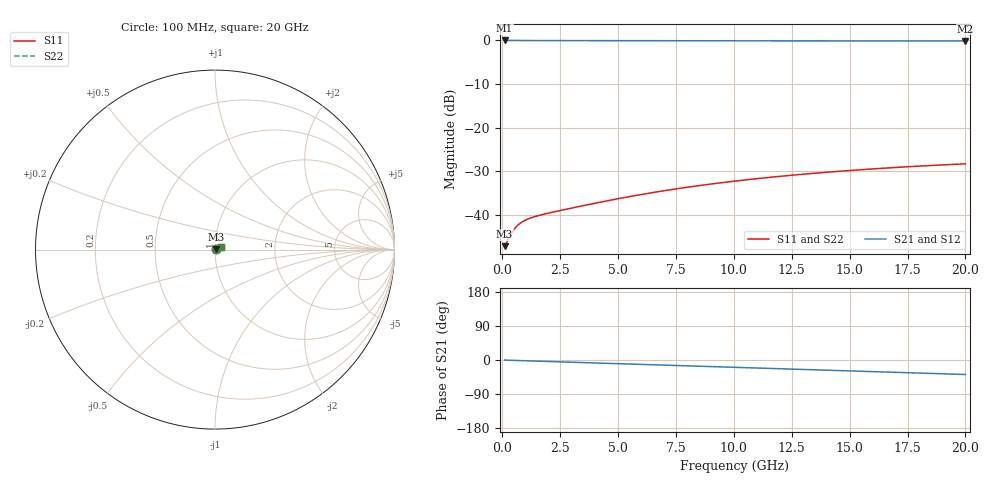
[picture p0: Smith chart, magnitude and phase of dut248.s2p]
! Touchstone file exported from HFSS 2026.1.0
!  File:  C:/ffzhzh/LocalFiles/Ansys_Project_Files/temp_train_TMRDL_248_1782984792_41620.aedt
!  Generated:  05:34:18 PM Jul  2, 2026
!  Design:  TMRDL
!  Project:  temp_train_TMRDL_248_1782984792_41620
! Variables:
!  h_bsmrdl = 2um
!  h_ox = 20um
!  h_rdl = 5um
!  h_sub = 80um
!  h_tmrdl = 2.08um
!  h_tsv = 80um
!  h_via = 3um
!  l_bsmrdl = 300um
!  l_sub = 1067.2um
!  l_tmrdl = 667.2um
!  m_sub = 200um
!  pitch = 33.91um
!  r_tsv = 6um
!  s_tmrdl = 10um
!  w_bsmrdl = 18um
!  w_sub = 500um
!  w_tmrdl = 29.58um
!  x_tsv_center1 = 681.99um
!  x_tsv_center2 = 999.99um
!  x_tsv_center3 = 1696.77um
!  x_tsv_center4 = 2014.77um
!  x_tsv_center5 = 2711.55um
!  x_tsv_center6 = 3029.55um
# GHz S MA R 50.000000
! Terminal data exported
! Port[1] = TM_RDL1_1_T1
! Port[2] = TM_RDL1_1_T2
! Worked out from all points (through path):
!   200 points, 100 MHz to 20 GHz, reference 50 ohm
!   highest |S21| = -0.04 dB at 100 MHz (marker M1); lowest = -0.2 dB at 20 GHz (marker M2)
!   group delay of S21, straight-line fit = 5.3 ps
!   lowest |S11| = -47.2 dB at 100 MHz (marker M3), VSWR 1.01, Z = 50.4 + j0.0903 ohm
!   |S11| at or under -10 dB: start of sweep to end of sweep
!   |S22| runs from -47.2 to -28.3 dB; largest |S21 - S12| = 3.5e-15
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0.1  0.004366 11.8  0.9957 -0.2  0.9957 -0.2  0.004366 11.8
! Gamma 0 0 0 0
! Port Impedance 50 0 50 0
0.2  0.004868 20.5  0.9954 -0.5  0.9954 -0.5  0.004868 20.5
0.3  0.00551 25.6  0.995 -0.7  0.995 -0.7  0.005509 25.7
0.4  0.00616 28.2  0.9946 -0.9  0.9946 -0.9  0.00616 28.2
0.5  0.006755 29.3  0.9942 -1.1  0.9942 -1.1  0.006757 29.3
0.6  0.007273 29.6  0.9937 -1.3  0.9937 -1.3  0.007278 29.7
0.7  0.007714 29.6  0.9934 -1.5  0.9934 -1.5  0.007721 29.6
0.8  0.008088 29.4  0.9931 -1.7  0.9931 -1.7  0.008098 29.5
1  0.008683 29.2  0.9926 -2.1  0.9926 -2.1  0.008698 29.2
1.3  0.009338 29.3  0.9921 -2.6  0.9921 -2.6  0.009356 29.3
1.7  0.01001 30.2  0.9917 -3.4  0.9917 -3.4  0.01003 30.2
2.3  0.01089 32.5  0.9913 -4.5  0.9913 -4.5  0.01091 32.4
3.5  0.01273 37.0  0.9908 -6.8  0.9908 -6.8  0.01274 36.9
5.2  0.01563 41.1  0.9901 -10.1  0.9901 -10.1  0.01564 40.9
6.8  0.01852 42.4  0.9893 -13.2  0.9893 -13.2  0.01852 42.3
8.4  0.02142 42.3  0.9884 -16.2  0.9884 -16.2  0.02142 42.0
10.1  0.02441 41.0  0.9875 -19.5  0.9875 -19.5  0.02441 40.7
11.7  0.0271 39.2  0.9865 -22.5  0.9865 -22.5  0.0271 38.9
13.4  0.0298 36.8  0.9854 -25.8  0.9854 -25.8  0.0298 36.5
15  0.03217 34.3  0.9843 -28.8  0.9843 -28.8  0.03217 33.9
16.7  0.03449 31.5  0.9832 -32.0  0.9832 -32.0  0.03448 31.1
20  0.03838 25.8  0.9812 -38.2  0.9812 -38.2  0.03837 25.3
